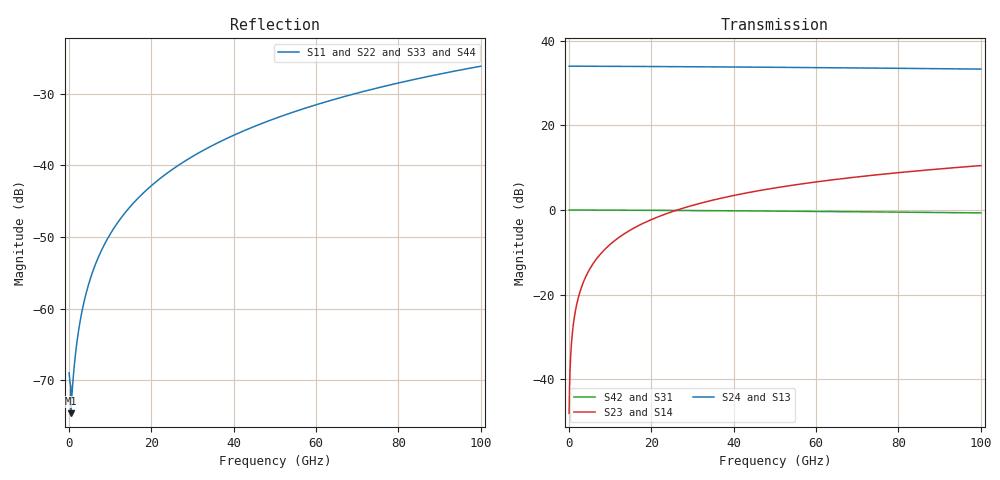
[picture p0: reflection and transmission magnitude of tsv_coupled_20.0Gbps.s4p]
# GHz S MA R 50
! TSV S-parameters for 4-port network
! Freq  S11_Mag  S11_Ang  S12_Mag  S12_Ang ...
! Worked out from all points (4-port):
!   5001 points, 100 MHz to 100 GHz, reference 50 ohm
!   strongest paths, dB at 100 MHz, 25.07 GHz, 50.05 GHz, 75.03 GHz, 100 GHz:
!     S24: 34.0, 33.9, 33.7, 33.5, 33.3
!     S13: 34.0, 33.9, 33.7, 33.5, 33.3
!     S23: -48.0, -0.4, 5.2, 8.3, 10.5
!     S14: -48.0, -0.4, 5.2, 8.3, 10.5
!     S42: 0.0, -0.1, -0.3, -0.5, -0.7
!     S31: 0.0, -0.1, -0.3, -0.5, -0.7
!   lowest |S11| = -74.6 dB at 519.6 MHz (marker M1), VSWR 1.00, Z = 50 + j0.0183 ohm
!   |S11| at or under -10 dB: start of sweep to end of sweep
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0.1  0.000356 5.7  0.0003217 89.7  49.98 -0.0  0.003959 88.8
     0.0003217 89.7  0.000356 5.7  0.003959 88.8  49.98 -0.0
     0.9996 -0.0  7.918e-05 88.8  0.000356 5.7  0.0003217 89.7
     7.918e-05 88.8  0.9996 -0.0  0.0003217 89.7  0.000356 5.7
0.51958  0.0001855 81.3  0.001671 89.7  49.98 -0.2  0.02054 89.6
         0.001671 89.7  0.0001855 81.3  0.02054 89.6  49.98 -0.2
         0.9996 -0.2  0.0004108 89.6  0.0001855 81.3  0.001671 89.7
         0.0004108 89.6  0.9996 -0.2  0.001671 89.7  0.0001855 81.3
2.95714  0.0008749 123.3  0.009501 88.8  49.93 -1.2  0.1165 89.0
         0.009501 88.8  0.0008749 123.3  0.1165 89.0  49.93 -1.2
         0.9985 -1.2  0.002331 89.0  0.0008749 123.3  0.009501 88.8
         0.002331 89.0  0.9985 -1.2  0.009501 88.8  0.0008749 123.3
9.71038  0.003185 136.8  0.03108 86.2  49.78 -3.8  0.3788 86.7
         0.03108 86.2  0.003185 136.8  0.3788 86.7  49.78 -3.8
         0.9956 -3.8  0.007577 86.7  0.003185 136.8  0.03108 86.2
         0.007577 86.7  0.9956 -3.8  0.03108 86.2  0.003185 136.8
45.89416  0.01917 135.8  0.1415 72.4  48.65 -17.8  1.682 74.9
          0.1415 72.4  0.01917 135.8  1.682 74.9  48.65 -17.8
          0.973 -17.8  0.03364 74.9  0.01917 135.8  0.1415 72.4
          0.03364 74.9  0.973 -17.8  0.1415 72.4  0.01917 135.8
73.68634  0.03411 128.5  0.2167 62.2  47.46 -28.3  2.569 66.8
          0.2167 62.2  0.03411 128.5  2.569 66.8  47.46 -28.3
          0.9491 -28.3  0.05139 66.8  0.03411 128.5  0.2167 62.2
          0.05139 66.8  0.9491 -28.3  0.2167 62.2  0.03411 128.5
100  0.0494 120.5  0.2776 52.9  46.17 -38.0  3.344 59.8
     0.2776 52.9  0.0494 120.5  3.344 59.8  46.17 -38.0
     0.9234 -38.0  0.06688 59.8  0.0494 120.5  0.2776 52.9
     0.06688 59.8  0.9234 -38.0  0.2776 52.9  0.0494 120.5
